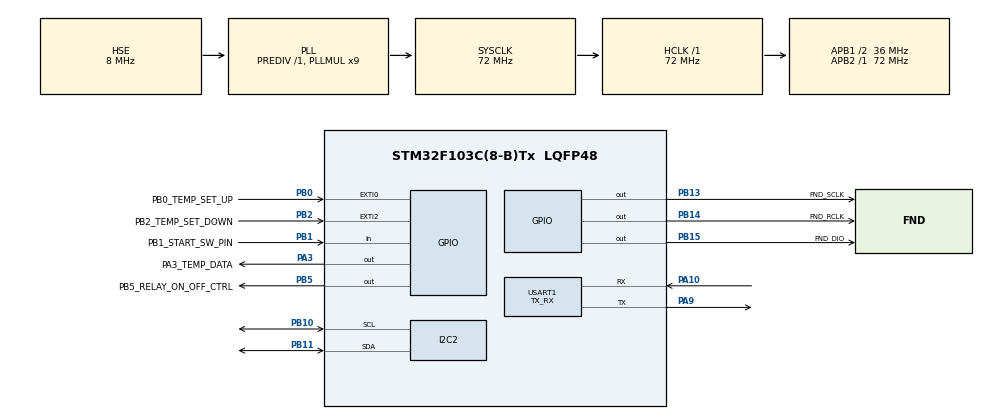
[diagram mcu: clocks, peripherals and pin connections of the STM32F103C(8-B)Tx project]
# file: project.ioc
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I2C2.I2C_Mode=I2C_Fast
Mcu.Family=STM32F1
Mcu.Name=STM32F103C(8-B)Tx
Mcu.Package=LQFP48
NVIC.EXTI0_IRQn=true\:3\:0\:true\:false\:true\:true\:true\:true
NVIC.EXTI2_IRQn=true\:3\:0\:true\:false\:true\:true\:true\:true
NVIC.PriorityGroup=NVIC_PRIORITYGROUP_4
NVIC.TIM2_IRQn=true\:0\:0\:true\:false\:true\:true\:true\:true
NVIC.TIM3_IRQn=true\:4\:0\:true\:false\:true\:true\:true\:true
PA10.Mode=Asynchronous
PA10.Signal=USART1_RX
PA13.Mode=Serial_Wire
PA13.Signal=SYS_JTMS-SWDIO
PA14.Mode=Serial_Wire
PA14.Signal=SYS_JTCK-SWCLK
PA3.GPIO_Label=PA3_TEMP_DATA
PA3.GPIO_ModeDefaultOutputPP=GPIO_MODE_OUTPUT_PP
PA3.GPIO_PuPd=GPIO_PULLUP
PA3.GPIO_Speed=GPIO_SPEED_FREQ_HIGH
PA3.PinState=GPIO_PIN_SET
PA3.Signal=GPIO_Output
PA9.Mode=Asynchronous
PA9.Signal=USART1_TX
PB0.GPIO_Label=PB0_TEMP_SET_UP
PB0.GPIO_ModeDefaultEXTI=GPIO_MODE_IT_FALLING
PB0.GPIO_PuPd=GPIO_PULLUP
PB0.Signal=GPXTI0
PB1.GPIO_Label=PB1_START_SW_PIN
PB1.GPIO_Mode=GPIO_MODE_INPUT
PB1.GPIO_PuPd=GPIO_PULLUP
PB1.Signal=GPIO_Input
PB10.Mode=I2C
PB10.Signal=I2C2_SCL
PB11.Mode=I2C
PB11.Signal=I2C2_SDA
PB13.GPIO_Label=FND_SCLK
PB13.GPIO_ModeDefaultOutputPP=GPIO_MODE_OUTPUT_PP
PB13.GPIO_PuPd=GPIO_PULLUP
PB13.GPIO_Speed=GPIO_SPEED_FREQ_HIGH
PB13.PinState=GPIO_PIN_SET
PB13.Signal=GPIO_Output
PB14.GPIO_Label=FND_RCLK
PB14.GPIO_ModeDefaultOutputPP=GPIO_MODE_OUTPUT_PP
PB14.GPIO_PuPd=GPIO_PULLUP
PB14.GPIO_Speed=GPIO_SPEED_FREQ_HIGH
PB14.PinState=GPIO_PIN_SET
PB14.Signal=GPIO_Output
PB15.GPIO_Label=FND_DIO
PB15.GPIO_ModeDefaultOutputPP=GPIO_MODE_OUTPUT_PP
PB15.GPIO_PuPd=GPIO_PULLUP
PB15.GPIO_Speed=GPIO_SPEED_FREQ_HIGH
PB15.PinState=GPIO_PIN_SET
PB15.Signal=GPIO_Output
PB2.GPIO_Label=PB2_TEMP_SET_DOWN
PB2.GPIO_ModeDefaultEXTI=GPIO_MODE_IT_FALLING
PB2.GPIO_PuPd=GPIO_PULLUP
PB2.Signal=GPXTI2
PB5.GPIO_Label=PB5_RELAY_ON_OFF_CTRL
PB5.GPIO_ModeDefaultOutputPP=GPIO_MODE_OUTPUT_PP
PB5.GPIO_PuPd=GPIO_PULLDOWN
PB5.GPIO_Speed=GPIO_SPEED_FREQ_HIGH
PB5.Signal=GPIO_Output
PC14-OSC32_IN.Mode=LSE-External-Oscillator
PC14-OSC32_IN.Signal=RCC_OSC32_IN
PC15-OSC32_OUT.Mode=LSE-External-Oscillator
PC15-OSC32_OUT.Signal=RCC_OSC32_OUT
PD0-OSC_IN.Mode=HSE-External-Oscillator
PD0-OSC_IN.Signal=RCC_OSC_IN
PD1-OSC_OUT.Mode=HSE-External-Oscillator
PD1-OSC_OUT.Signal=RCC_OSC_OUT
ProjectManager.HeapSize=0x200
ProjectManager.StackSize=0x400
ProjectManager.TargetToolchain=STM32CubeIDE
RCC.AHBFreq_Value=72000000
RCC.APB1CLKDivider=RCC_HCLK_DIV2
RCC.APB1Freq_Value=36000000
RCC.APB1TimFreq_Value=72000000
RCC.APB2Freq_Value=72000000
RCC.APB2TimFreq_Value=72000000
RCC.HCLKFreq_Value=72000000
RCC.PLLMUL=RCC_PLL_MUL9
RCC.PLLSourceVirtual=RCC_PLLSOURCE_HSE
RCC.SYSCLKFreq_VALUE=72000000
RCC.SYSCLKSource=RCC_SYSCLKSOURCE_PLLCLK
RCC.USBFreq_Value=72000000
TIM2.AutoReloadPreload=TIM_AUTORELOAD_PRELOAD_DISABLE
TIM2.Period=0xffff
TIM2.Prescaler=(72-1)
TIM3.Period=99
TIM3.Prescaler=71
USART1.Mode=MODE_TX_RX
USART1.VirtualMode=VM_ASYNC
VP_TIM2_VS_ClockSourceINT.Mode=Internal
VP_TIM3_VS_ClockSourceINT.Mode=Internal
board=custom

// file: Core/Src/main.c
/* USER CODE BEGIN Header */
/**
 ******************************************************************************
 * @file           : main.c
 * @brief          : Main program body
 ******************************************************************************
 * @attention
 *
 * Copyright (c) 2024 STMicroelectronics.
 * All rights reserved.
 *
 * This software is licensed under terms that can be found in the LICENSE file
 * in the root directory of this software component.
 * If no LICENSE file comes with this software, it is provided AS-IS.
 *
 ******************************************************************************
 */
/* USER CODE END Header */
#include "main.h"

/* USER CODE BEGIN Includes */
#include <stdio.h>
#include "ds18b20.h"
#include "fnd_controller.h"
#include "heater_controller.h"
#include "oled_controller.h"
#include "button_controller.h"

#include "fonts.h"
#include "ssd1306.h"
#include "test.h"
#include "bitmap.h"
#include "horse_anim.h"

/* USER CODE END Includes */

I2C_HandleTypeDef hi2c2;

TIM_HandleTypeDef htim2;
TIM_HandleTypeDef htim3;

UART_HandleTypeDef huart1;

void SystemClock_Config(void);
static void MX_GPIO_Init(void);
static void MX_USART1_UART_Init(void);
static void MX_TIM2_Init(void);
static void MX_TIM3_Init(void);
static void MX_I2C2_Init(void);
/* USER CODE BEGIN PFP */

int _write(int file, char *ptr, int len);

/* USER CODE END PFP */

int main(void)
{

  /* MCU Configuration--------------------------------------------------------*/

  /* Reset of all peripherals, Initializes the Flash interface and the Systick. */
  HAL_Init();

  /* Configure the system clock */
  SystemClock_Config();

  /* Initialize all configured peripherals */
  MX_GPIO_Init();
  MX_USART1_UART_Init();
  MX_TIM2_Init();
  MX_TIM3_Init();
  MX_I2C2_Init();
  /* USER CODE BEGIN 2 */

  SSD1306_Init(); // OLED init
  Ds18b20_Init(); // temp sensor init
  init_fnd(); // FND init
  HAL_TIM_Base_Start_IT(&htim3); // FND controll !

  OLED_defult_render();

  /* USER CODE END 2 */

  /* Infinite loop */
  /* USER CODE BEGIN WHILE */
	while (1) {

		if (check_start_sw() == t_ON)
		{
			Ds18b20_ManualConvert(); // 온도 센서값 convert
			heater_controll(); // set temp에 따른 relay 제어
		}
		else
			heater_force_off();

    /* USER CODE END WHILE */

	}
}

void SystemClock_Config(void)
{
  RCC_OscInitTypeDef RCC_OscInitStruct = {0};
  RCC_ClkInitTypeDef RCC_ClkInitStruct = {0};

  /** Initializes the RCC Oscillators according to the specified parameters
  * in the RCC_OscInitTypeDef structure.
  */
  RCC_OscInitStruct.OscillatorType = RCC_OSCILLATORTYPE_HSE;
  RCC_OscInitStruct.HSEState = RCC_HSE_ON;
  RCC_OscInitStruct.HSEPredivValue = RCC_HSE_PREDIV_DIV1;
  RCC_OscInitStruct.HSIState = RCC_HSI_ON;
  RCC_OscInitStruct.PLL.PLLState = RCC_PLL_ON;
  RCC_OscInitStruct.PLL.PLLSource = RCC_PLLSOURCE_HSE;
  RCC_OscInitStruct.PLL.PLLMUL = RCC_PLL_MUL9;
  if (HAL_RCC_OscConfig(&RCC_OscInitStruct) != HAL_OK)
  {
    Error_Handler();
  }

  /** Initializes the CPU, AHB and APB buses clocks
  */
  RCC_ClkInitStruct.ClockType = RCC_CLOCKTYPE_HCLK|RCC_CLOCKTYPE_SYSCLK
                              |RCC_CLOCKTYPE_PCLK1|RCC_CLOCKTYPE_PCLK2;
  RCC_ClkInitStruct.SYSCLKSource = RCC_SYSCLKSOURCE_PLLCLK;
  RCC_ClkInitStruct.AHBCLKDivider = RCC_SYSCLK_DIV1;
  RCC_ClkInitStruct.APB1CLKDivider = RCC_HCLK_DIV2;
  RCC_ClkInitStruct.APB2CLKDivider = RCC_HCLK_DIV1;

  if (HAL_RCC_ClockConfig(&RCC_ClkInitStruct, FLASH_LATENCY_2) != HAL_OK)
  {
    Error_Handler();
  }
}

static void MX_I2C2_Init(void)
{

  hi2c2.Instance = I2C2;
  hi2c2.Init.ClockSpeed = 400000;
  hi2c2.Init.DutyCycle = I2C_DUTYCYCLE_2;
  hi2c2.Init.OwnAddress1 = 0;
  hi2c2.Init.AddressingMode = I2C_ADDRESSINGMODE_7BIT;
  hi2c2.Init.DualAddressMode = I2C_DUALADDRESS_DISABLE;
  hi2c2.Init.OwnAddress2 = 0;
  hi2c2.Init.GeneralCallMode = I2C_GENERALCALL_DISABLE;
  hi2c2.Init.NoStretchMode = I2C_NOSTRETCH_DISABLE;
  if (HAL_I2C_Init(&hi2c2) != HAL_OK)
  {
    Error_Handler();
  }

}

static void MX_TIM2_Init(void)
{

  TIM_ClockConfigTypeDef sClockSourceConfig = {0};
  TIM_MasterConfigTypeDef sMasterConfig = {0};

  htim2.Instance = TIM2;
  htim2.Init.Prescaler = (72-1);
  htim2.Init.CounterMode = TIM_COUNTERMODE_UP;
  htim2.Init.Period = 0xffff;
  htim2.Init.ClockDivision = TIM_CLOCKDIVISION_DIV1;
  htim2.Init.AutoReloadPreload = TIM_AUTORELOAD_PRELOAD_DISABLE;
  if (HAL_TIM_Base_Init(&htim2) != HAL_OK)
  {
    Error_Handler();
  }
  sClockSourceConfig.ClockSource = TIM_CLOCKSOURCE_INTERNAL;
  if (HAL_TIM_ConfigClockSource(&htim2, &sClockSourceConfig) != HAL_OK)
  {
    Error_Handler();
  }
  sMasterConfig.MasterOutputTrigger = TIM_TRGO_RESET;
  sMasterConfig.MasterSlaveMode = TIM_MASTERSLAVEMODE_DISABLE;
  if (HAL_TIMEx_MasterConfigSynchronization(&htim2, &sMasterConfig) != HAL_OK)
  {
    Error_Handler();
  }

}

static void MX_TIM3_Init(void)
{

  TIM_ClockConfigTypeDef sClockSourceConfig = {0};
  TIM_MasterConfigTypeDef sMasterConfig = {0};

  htim3.Instance = TIM3;
  htim3.Init.Prescaler = 71;
  htim3.Init.CounterMode = TIM_COUNTERMODE_UP;
  htim3.Init.Period = 99;
  htim3.Init.ClockDivision = TIM_CLOCKDIVISION_DIV1;
  htim3.Init.AutoReloadPreload = TIM_AUTORELOAD_PRELOAD_DISABLE;
  if (HAL_TIM_Base_Init(&htim3) != HAL_OK)
  {
    Error_Handler();
  }
  sClockSourceConfig.ClockSource = TIM_CLOCKSOURCE_INTERNAL;
  if (HAL_TIM_ConfigClockSource(&htim3, &sClockSourceConfig) != HAL_OK)
  {
    Error_Handler();
  }
  sMasterConfig.MasterOutputTrigger = TIM_TRGO_RESET;
  sMasterConfig.MasterSlaveMode = TIM_MASTERSLAVEMODE_DISABLE;
  if (HAL_TIMEx_MasterConfigSynchronization(&htim3, &sMasterConfig) != HAL_OK)
  {
    Error_Handler();
  }

}

static void MX_USART1_UART_Init(void)
{

  huart1.Instance = USART1;
  huart1.Init.BaudRate = 115200;
  huart1.Init.WordLength = UART_WORDLENGTH_8B;
  huart1.Init.StopBits = UART_STOPBITS_1;
  huart1.Init.Parity = UART_PARITY_NONE;
  huart1.Init.Mode = UART_MODE_TX_RX;
  huart1.Init.HwFlowCtl = UART_HWCONTROL_NONE;
  huart1.Init.OverSampling = UART_OVERSAMPLING_16;
  if (HAL_UART_Init(&huart1) != HAL_OK)
  {
    Error_Handler();
  }

}

static void MX_GPIO_Init(void)
{
  GPIO_InitTypeDef GPIO_InitStruct = {0};

  /* GPIO Ports Clock Enable */
  __HAL_RCC_GPIOC_CLK_ENABLE();
  __HAL_RCC_GPIOD_CLK_ENABLE();
  __HAL_RCC_GPIOA_CLK_ENABLE();
  __HAL_RCC_GPIOB_CLK_ENABLE();

  /*Configure GPIO pin Output Level */
  HAL_GPIO_WritePin(PA3_TEMP_DATA_GPIO_Port, PA3_TEMP_DATA_Pin, GPIO_PIN_SET);

  /*Configure GPIO pin Output Level */
  HAL_GPIO_WritePin(GPIOB, FND_SCLK_Pin|FND_RCLK_Pin|FND_DIO_Pin, GPIO_PIN_SET);

  /*Configure GPIO pin Output Level */
  HAL_GPIO_WritePin(PB5_RELAY_ON_OFF_CTRL_GPIO_Port, PB5_RELAY_ON_OFF_CTRL_Pin, GPIO_PIN_RESET);

  /*Configure GPIO pin : PA3_TEMP_DATA_Pin */
  GPIO_InitStruct.Pin = PA3_TEMP_DATA_Pin;
  GPIO_InitStruct.Mode = GPIO_MODE_OUTPUT_PP;
  GPIO_InitStruct.Pull = GPIO_PULLUP;
  GPIO_InitStruct.Speed = GPIO_SPEED_FREQ_HIGH;
  HAL_GPIO_Init(PA3_TEMP_DATA_GPIO_Port, &GPIO_InitStruct);

  /*Configure GPIO pins : PB0_TEMP_SET_UP_Pin PB2_TEMP_SET_DOWN_Pin */
  GPIO_InitStruct.Pin = PB0_TEMP_SET_UP_Pin|PB2_TEMP_SET_DOWN_Pin;
  GPIO_InitStruct.Mode = GPIO_MODE_IT_FALLING;
  GPIO_InitStruct.Pull = GPIO_PULLUP;
  HAL_GPIO_Init(GPIOB, &GPIO_InitStruct);

  /*Configure GPIO pin : PB1_START_SW_PIN_Pin */
  GPIO_InitStruct.Pin = PB1_START_SW_PIN_Pin;
  GPIO_InitStruct.Mode = GPIO_MODE_INPUT;
  GPIO_InitStruct.Pull = GPIO_PULLUP;
  HAL_GPIO_Init(PB1_START_SW_PIN_GPIO_Port, &GPIO_InitStruct);

  /*Configure GPIO pins : FND_SCLK_Pin FND_RCLK_Pin FND_DIO_Pin */
  GPIO_InitStruct.Pin = FND_SCLK_Pin|FND_RCLK_Pin|FND_DIO_Pin;
  GPIO_InitStruct.Mode = GPIO_MODE_OUTPUT_PP;
  GPIO_InitStruct.Pull = GPIO_PULLUP;
  GPIO_InitStruct.Speed = GPIO_SPEED_FREQ_HIGH;
  HAL_GPIO_Init(GPIOB, &GPIO_InitStruct);

  /*Configure GPIO pin : PB5_RELAY_ON_OFF_CTRL_Pin */
  GPIO_InitStruct.Pin = PB5_RELAY_ON_OFF_CTRL_Pin;
  GPIO_InitStruct.Mode = GPIO_MODE_OUTPUT_PP;
  GPIO_InitStruct.Pull = GPIO_PULLDOWN;
  GPIO_InitStruct.Speed = GPIO_SPEED_FREQ_HIGH;
  HAL_GPIO_Init(PB5_RELAY_ON_OFF_CTRL_GPIO_Port, &GPIO_InitStruct);

  /* EXTI interrupt init*/
  HAL_NVIC_SetPriority(EXTI0_IRQn, 3, 0);
  HAL_NVIC_EnableIRQ(EXTI0_IRQn);

  HAL_NVIC_SetPriority(EXTI2_IRQn, 3, 0);
  HAL_NVIC_EnableIRQ(EXTI2_IRQn);

}

/* USER CODE BEGIN 4 */

int _write(int file, char *ptr, int len)
{
  (void)file;
  HAL_UART_Transmit(&huart1, (uint8_t*)ptr, len, 10);
  return len;
}

/* USER CODE END 4 */

void Error_Handler(void)
{
	__disable_irq();
	while (1) {
	}
}
